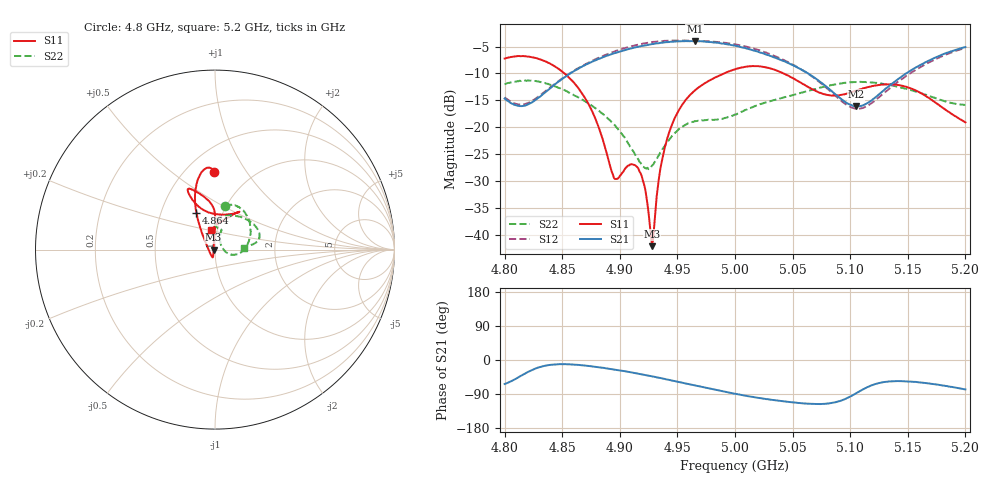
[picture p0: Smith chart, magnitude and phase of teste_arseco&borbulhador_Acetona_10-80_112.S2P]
! Network Analyzer HP8722D
! Hewlett-Packard
! Data name: Linha & Wilkinson
! Saver's name: Rodrigo Anjos
! Comments: Teste da utilização de aquisição
! continua pelo VNA HP8722D
! Time and date: 25/4/2025 16:12
!  Frequency  S11  S21  S12  S22
# HZ  S  MA R 50
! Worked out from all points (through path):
!   401 points, 4.8 GHz to 5.2 GHz, reference 50 ohm
!   highest |S21| = -3.98 dB at 4.965 GHz (marker M1); lowest = -16.1 dB at 5.105 GHz (marker M2)
!   lowest |S11| = -42.1 dB at 4.928 GHz (marker M3), VSWR 1.02, Z = 49.2 - j0.0243 ohm
!   |S11| at or under -10 dB: 4.852 GHz to 4.99 GHz (138.4 MHz wide, 2.81 % of centre); 5.042 GHz to end of sweep
!   |S22| runs from -27.8 to -11.3 dB; largest |S21 - S12| = 1.2
!   S11 on the Smith chart (normalised r, x): 4.8 GHz: 0.68, +0.73; 4.864 GHz: 0.75, +0.33; 5.2 GHz: 0.94, +0.21
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4.8e9  0.4348 90.5  0.1847 -63.3  0.1898 70.1  0.2511 76.7
4.82e9  0.4528 96.9  0.1624 -31.8  0.168 98.9  0.272 61.5
4.864e9  0.2314 116.7  0.3502 -12.9  0.354 120.9  0.1893 11.8
4.867e9  0.2082 118.4  0.3654 -14.0  0.3696 120.5  0.1818 8.2
4.88e9  0.111 129.0  0.4241 -18.6  0.4344 118.1  0.1474 -5.6
4.895e9  0.03364 -173.7  0.4863 -25.2  0.5032 113.7  0.1063 -16.1
4.909e9  0.04524 -108.5  0.537 -32.0  0.5611 107.4  0.0659 -14.2
4.917e9  0.03903 -104.9  0.5634 -36.5  0.5898 103.4  0.04793 -0.5
4.922e9  0.02675 -109.3  0.5758 -39.4  0.6032 100.5  0.04179 17.1
4.928e9  0.007871 -178.2  0.5924 -43.0  0.6176 96.9  0.04418 41.6
4.93e9  0.01261 127.1  0.5956 -44.5  0.6215 95.6  0.04712 48.8
4.934e9  0.03382 101.1  0.6033 -47.0  0.6288 93.1  0.05525 59.1
4.939e9  0.06441 93.9  0.6148 -49.9  0.6357 89.8  0.06696 65.6
4.946e9  0.1105 90.3  0.6242 -54.6  0.6387 85.5  0.08483 70.4
4.965e9  0.2192 91.0  0.6322 -67.1  0.6364 73.2  0.1138 71.4
5e9  0.3456 109.0  0.5725 -89.1  0.5907 50.7  0.1314 88.4
5.03e9  0.354 115.0  0.463 -104.3  0.4799 33.8  0.1738 85.2
5.067e9  0.226 105.2  0.2993 -115.9  0.2959 23.7  0.2224 56.9
5.105e9  0.2184 65.3  0.1563 -88.1  0.1487 55.0  0.263 25.3
5.134e9  0.2511 57.3  0.2436 -56.6  0.2283 88.7  0.2474 12.2
5.169e9  0.185 70.0  0.4194 -62.2  0.4039 84.6  0.1942 6.8
5.2e9  0.1111 100.8  0.5557 -77.7  0.5458 70.0  0.1611 3.7
